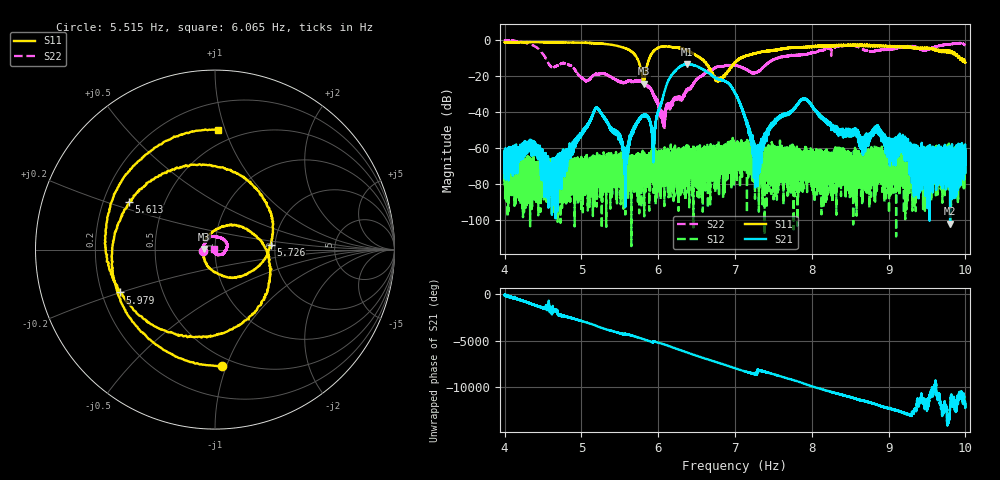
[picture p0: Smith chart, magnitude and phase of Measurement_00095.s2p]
!Created with skrf (http://scikit-rf.org).
# Hz S RI R 50.0
!freq ReS11 ImS11 ReS21 ImS21 ReS12 ImS12 ReS22 ImS22
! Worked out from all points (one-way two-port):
!   14001 points, 4 Hz to 10 Hz, reference 50 ohm
!   highest |S21| = -13.39 dB at 6.369 Hz (marker M1); lowest = -101.8 dB at 9.801 Hz (marker M2)
!   lowest |S11| = -24.1 dB at 5.81 Hz (marker M3), VSWR 1.13, Z = 44.2 + j0.331 ohm
!   |S11| at or under -10 dB: 5.725 Hz to 5.886 Hz (161.6 mHz wide, 2.78 % of centre); 6.555 Hz to 7.069 Hz (513.9 mHz wide, 7.54 % of centre); 9.949 Hz to end of sweep (the widest 3 of 15)
!   |S22| runs from -49.5 to -0.2 dB; largest |S21 - S12| = 0.21
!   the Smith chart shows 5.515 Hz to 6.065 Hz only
!   S11 on the Smith chart (normalised r, x): 5.515 Hz: 0.43, -0.97; 5.613 Hz: 0.31, +0.23; 5.726 Hz: 1.90, +0.11; 5.979 Hz: 0.28, -0.20; 6.065 Hz: 0.39, +0.94
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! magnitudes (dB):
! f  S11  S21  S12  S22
! 4 Hz  -1.1  -76.3  -80.5  -0.2
! 4.351 Hz  -1.1  -56.9  -81.3  -2.6
! 4.599 Hz  -1.2  -70.0  -76.2  -14.5
! 5 Hz  -1.4  -51.6  -85.9  -20.7
! 5.203 Hz  -1.8  -37.6  -67.3  -18.8
! 5.515 Hz  -3.7  -54.6  -67.6  -23.2
! 5.613 Hz  -5.3  -57.8  -75.4  -22.7
! 5.726 Hz  -10.1  -45.3  -67.1  -22.5
! 5.81 Hz  -24.1  -42.2  -63.3  -23.7
! 5.932 Hz  -6.6  -59.6  -69.7  -29.3
! 5.979 Hz  -4.7  -42.5  -74.9  -33.9
! 6 Hz  -4.2  -39.6  -72.5  -35.1
! 6.065 Hz  -3.5  -31.1  -81.8  -43.9
! 6.369 Hz  -5.5  -13.4  -63.5  -28.1
! 6.775 Hz  -22.6  -21.6  -64.1  -14.7
! 7 Hz  -12.4  -29.1  -59.5  -14.1
! 7.28 Hz  -7.2  -61.9  -68.4  -17.9
! 7.549 Hz  -5.4  -43.5  -66.2  -10.1
! 8 Hz  -3.8  -36.1  -73.6  -6.9
! 9 Hz  -3.5  -64.6  -79.9  -5.1
! 9.801 Hz  -6.2  -101.8  -62.1  -2.2
! 10 Hz  -12.3  -67.3  -63.6  -3.1
